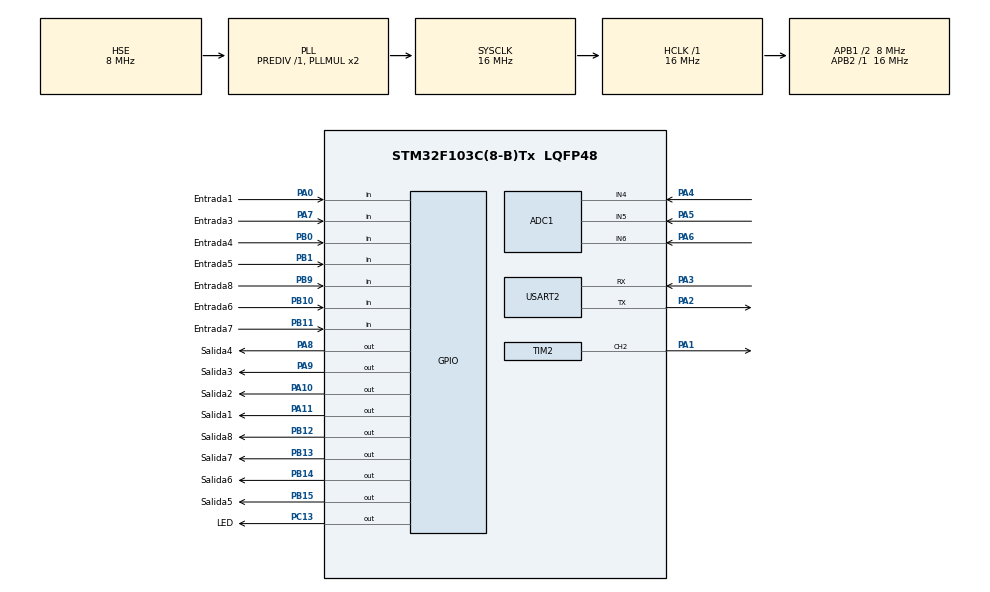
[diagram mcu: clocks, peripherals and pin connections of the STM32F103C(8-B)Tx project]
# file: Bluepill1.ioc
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ADC1.Channel-3\#ChannelRegularConversion=ADC_CHANNEL_4
ADC1.Channel-4\#ChannelRegularConversion=ADC_CHANNEL_4
ADC1.Channel-5\#ChannelRegularConversion=ADC_CHANNEL_4
ADC1.ContinuousConvMode=ENABLE
ADC1.NbrOfConversion=3
ADC1.NbrOfConversionFlag=1
ADC1.Rank-3\#ChannelRegularConversion=1
ADC1.Rank-4\#ChannelRegularConversion=2
ADC1.Rank-5\#ChannelRegularConversion=3
ADC1.SamplingTime-3\#ChannelRegularConversion=ADC_SAMPLETIME_28CYCLES_5
ADC1.SamplingTime-4\#ChannelRegularConversion=ADC_SAMPLETIME_71CYCLES_5
ADC1.SamplingTime-5\#ChannelRegularConversion=ADC_SAMPLETIME_239CYCLES_5
ADC1.master=1
Mcu.Family=STM32F1
Mcu.Name=STM32F103C(8-B)Tx
Mcu.Package=LQFP48
NVIC.PriorityGroup=NVIC_PRIORITYGROUP_4
NVIC.USART2_IRQn=true\:0\:0\:false\:false\:true\:true\:true\:true
PA0-WKUP.GPIO_Label=Entrada1
PA0-WKUP.GPIO_PuPd=GPIO_PULLDOWN
PA0-WKUP.Signal=GPIO_Input
PA1.Signal=S_TIM2_CH2
PA10.GPIO_Label=Salida2
PA10.GPIO_PuPd=GPIO_PULLDOWN
PA10.Signal=GPIO_Output
PA11.GPIO_Label=Salida1
PA11.GPIO_PuPd=GPIO_PULLDOWN
PA11.Signal=GPIO_Output
PA13.Mode=Serial_Wire
PA13.Signal=SYS_JTMS-SWDIO
PA14.Mode=Serial_Wire
PA14.Signal=SYS_JTCK-SWCLK
PA2.Mode=Asynchronous
PA2.Signal=USART2_TX
PA3.Mode=Asynchronous
PA3.Signal=USART2_RX
PA4.Signal=ADCx_IN4
PA5.Signal=ADCx_IN5
PA6.Signal=ADCx_IN6
PA7.GPIO_Label=Entrada3
PA7.GPIO_PuPd=GPIO_PULLDOWN
PA7.Signal=GPIO_Input
PA8.GPIO_Label=Salida4
PA8.GPIO_PuPd=GPIO_PULLDOWN
PA8.Signal=GPIO_Output
PA9.GPIO_Label=Salida3
PA9.GPIO_PuPd=GPIO_PULLDOWN
PA9.Signal=GPIO_Output
PB0.GPIO_Label=Entrada4
PB0.GPIO_PuPd=GPIO_PULLDOWN
PB0.Signal=GPIO_Input
PB1.GPIO_Label=Entrada5
PB1.GPIO_PuPd=GPIO_PULLDOWN
PB1.Signal=GPIO_Input
PB10.GPIO_Label=Entrada6
PB10.GPIO_PuPd=GPIO_PULLDOWN
PB10.Signal=GPIO_Input
PB11.GPIO_Label=Entrada7
PB11.GPIO_PuPd=GPIO_PULLDOWN
PB11.Signal=GPIO_Input
PB12.GPIO_Label=Salida8
PB12.GPIO_PuPd=GPIO_PULLDOWN
PB12.Signal=GPIO_Output
PB13.GPIO_Label=Salida7
PB13.GPIO_PuPd=GPIO_PULLDOWN
PB13.Signal=GPIO_Output
PB14.GPIO_Label=Salida6
PB14.GPIO_PuPd=GPIO_PULLDOWN
PB14.Signal=GPIO_Output
PB15.GPIO_Label=Salida5
PB15.GPIO_PuPd=GPIO_PULLDOWN
PB15.Signal=GPIO_Output
PB9.GPIO_Label=Entrada8
PB9.GPIO_PuPd=GPIO_PULLDOWN
PB9.Signal=GPIO_Input
PC13-TAMPER-RTC.GPIO_Label=LED
PC13-TAMPER-RTC.GPIO_PuPd=GPIO_PULLDOWN
PC13-TAMPER-RTC.Signal=GPIO_Output
PD0-OSC_IN.Mode=HSE-External-Oscillator
PD0-OSC_IN.Signal=RCC_OSC_IN
PD1-OSC_OUT.Mode=HSE-External-Oscillator
PD1-OSC_OUT.Signal=RCC_OSC_OUT
ProjectManager.HeapSize=0x200
ProjectManager.StackSize=0x400
ProjectManager.TargetToolchain=STM32CubeIDE
RCC.AHBFreq_Value=16000000
RCC.APB1CLKDivider=RCC_HCLK_DIV2
RCC.APB1Freq_Value=8000000
RCC.APB1TimFreq_Value=16000000
RCC.APB2Freq_Value=16000000
RCC.APB2TimFreq_Value=16000000
RCC.HCLKFreq_Value=16000000
RCC.PLLSourceVirtual=RCC_PLLSOURCE_HSE
RCC.SYSCLKFreq_VALUE=16000000
RCC.SYSCLKSource=RCC_SYSCLKSOURCE_PLLCLK
RCC.USBFreq_Value=16000000
SH.ADCx_IN4.0=ADC1_IN4,IN4
SH.ADCx_IN5.0=ADC1_IN5,IN5
SH.ADCx_IN6.0=ADC1_IN6,IN6
SH.S_TIM2_CH2.0=TIM2_CH2,PWM Generation2 CH2
TIM2.AutoReloadPreload=TIM_AUTORELOAD_PRELOAD_ENABLE
TIM2.Channel-PWM\ Generation2\ CH2=TIM_CHANNEL_2
USART2.VirtualMode=VM_ASYNC
VP_TIM2_VS_ClockSourceINT.Mode=Internal
board=custom

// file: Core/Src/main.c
/* USER CODE BEGIN Header */
/**
  ******************************************************************************
  * @file           : main.c
  * @brief          : Main program body
  ******************************************************************************
  * @attention
  *
  * Copyright (c) 2022 STMicroelectronics.
  * All rights reserved.
  *
  * This software is licensed under terms that can be found in the LICENSE file
  * in the root directory of this software component.
  * If no LICENSE file comes with this software, it is provided AS-IS.
  *
  ******************************************************************************
  */
/* USER CODE END Header */
#include "main.h"

/* USER CODE BEGIN Includes */
#include <stdio.h>
#include <string.h>
#include <stdlib.h>
/* USER CODE END Includes */

/* USER CODE BEGIN PD */
#define NUM_ADC 3
/* USER CODE END PD */

 ADC_HandleTypeDef hadc1;

TIM_HandleTypeDef htim2;

UART_HandleTypeDef huart2;

void SystemClock_Config(void);
static void MX_GPIO_Init(void);
static void MX_USART2_UART_Init(void);
static void MX_ADC1_Init(void);
static void MX_TIM2_Init(void);

/* USER CODE BEGIN 0 */

void ADC_Select_CH4(void){
	/** Configure Regular Channel
	  */
	  ADC_ChannelConfTypeDef sConfig = {0};
	  sConfig.Channel = ADC_CHANNEL_4;
	  sConfig.Rank = ADC_REGULAR_RANK_1;
	  sConfig.SamplingTime = ADC_SAMPLETIME_28CYCLES_5;
	  if (HAL_ADC_ConfigChannel(&hadc1, &sConfig) != HAL_OK)
	  {
	    Error_Handler();
	  }

}
void ADC_Select_CH5(void){
	/** Configure Regular Channel
		  */
		  ADC_ChannelConfTypeDef sConfig = {0};
		  sConfig.Channel = ADC_CHANNEL_5;
		  sConfig.Rank = ADC_REGULAR_RANK_1;
		  sConfig.SamplingTime = ADC_SAMPLETIME_71CYCLES_5;
		  if (HAL_ADC_ConfigChannel(&hadc1, &sConfig) != HAL_OK)
		  {
		    Error_Handler();
		  }

}

void ADC_Select_CH6(void){
	/** Configure Regular Channel
			  */
			  ADC_ChannelConfTypeDef sConfig = {0};
			  sConfig.Channel = ADC_CHANNEL_6;
			  sConfig.Rank = ADC_REGULAR_RANK_1;
			  sConfig.SamplingTime = ADC_SAMPLETIME_239CYCLES_5;
			  if (HAL_ADC_ConfigChannel(&hadc1, &sConfig) != HAL_OK)
			  {
			    Error_Handler();
			  }
}

	 uint16_t ADCValue[3];
/* USER CODE END 0 */

int main(void)
{
  /* USER CODE BEGIN 1 */

	 int32_t dutyCycle = 0;
	 int PWM;
	 int i;
	 uint8_t charValue[50];
	 uint8_t inDig[8];
	 uint8_t dataRec[8]={};
	 int dato[9]={};
	 float temperatura;
	 int rec = 0;
  // ----------------------------Variables usadas para el filtrado-----------------------------------
	 float y[2] = {0.0,0.0};
	 float x[2] = {0.0,0.0};
	 float frec_corte = 2*3.14*0.1;
	 float A1, A2, A3;
	 float suavizar = 0;
	 int ADC_filtrado;
 // ----------------------------Variables usadas para la discretizacion del PID-----------------------------------
	 float referencia;
	 float retro; 					// Retroalimentacion
	 float e[3] = {0.0,0.0,0.0}; 	//Almacenamos el error actual, el error anterior y el anterior 2 veces
	 float u[3] = {0.0,0.0,0.0}; 	// Almacena la salida actual, la anterior y la anterior 2 veces
	 float kp = 44;
	 float ki = 1.53;
	 float kd = 100;
	 float T = 1;
	 float K1, K2, K3;			 	 // Variables auxiliares
	 float a1, a2, a3;
  /* USER CODE END 1 */

  /* MCU Configuration--------------------------------------------------------*/

  /* Reset of all peripherals, Initializes the Flash interface and the Systick. */
  HAL_Init();

  /* Configure the system clock */
  SystemClock_Config();

  /* Initialize all configured peripherals */
  MX_GPIO_Init();
  MX_USART2_UART_Init();
  MX_ADC1_Init();
  MX_TIM2_Init();
  /* USER CODE BEGIN 2 */
  HAL_TIM_PWM_Start(&htim2, TIM_CHANNEL_2);
  /* USER CODE END 2 */

  /* Infinite loop */
  /* USER CODE BEGIN WHILE */

  while (1)
  {
	  suavizar = 0;
//------------LECTURA PUERTO SERIE: Los datos estan guardados como ASCII, el programa no avanza hasta que se reciben datos----------------------//
	  HAL_UART_Receive_IT(&huart2, (uint16_t*)dataRec, sizeof(dataRec));

	  dato[0] = (int)(dataRec[0]);
	  dato[1] = (int)(dataRec[1]);

	  if(rec<=-500)
	  {
		  rec=0;
	  }
	  else
	  {
	  rec = (dato[0]-48)*10 + (dato[1]-48);
	  }

 //-------------------------------------------DEFINICION DEL ESTADO DE LAS SALIDAS--------------------------------------------------------------//

	  if(dato[0]==49)
	  {
		  HAL_GPIO_WritePin(GPIOA, GPIO_PIN_11, GPIO_PIN_SET);
	  }
	  else
	  {
		  HAL_GPIO_WritePin(GPIOA, GPIO_PIN_11, GPIO_PIN_RESET);
	  }
	  if(dato[1]==49)
	  {
		  HAL_GPIO_WritePin(GPIOA, GPIO_PIN_10, GPIO_PIN_SET);
	  }
	  else
	  {
		  HAL_GPIO_WritePin(GPIOA, GPIO_PIN_10, GPIO_PIN_RESET);
	  }
	  if(dato[2]==49)
	  {
		  HAL_GPIO_WritePin(GPIOA, GPIO_PIN_9, GPIO_PIN_SET);
	  }else
	  {
		  HAL_GPIO_WritePin(GPIOA, GPIO_PIN_9, GPIO_PIN_RESET);
	  }
	  if(dato[3]==49)
	  {
		  HAL_GPIO_WritePin(GPIOA, GPIO_PIN_8, GPIO_PIN_SET);
	  }
	  else
	  {
		  HAL_GPIO_WritePin(GPIOA, GPIO_PIN_9, GPIO_PIN_RESET);
	  }
	  if(dato[4]==49)
	  {
		  HAL_GPIO_WritePin(GPIOB, GPIO_PIN_15, GPIO_PIN_SET);
	  }
	  else
	  {
		  HAL_GPIO_WritePin(GPIOB, GPIO_PIN_15, GPIO_PIN_RESET);
	  }
	  if(dato[5]==49)
	  {
		  HAL_GPIO_WritePin(GPIOB, GPIO_PIN_14, GPIO_PIN_SET);
	  }else
	  {
		  HAL_GPIO_WritePin(GPIOB, GPIO_PIN_14, GPIO_PIN_RESET);
	  }
	  if(dato[6]==49)
	  {
		  HAL_GPIO_WritePin(GPIOB, GPIO_PIN_13, GPIO_PIN_SET);
	  }
	  else
	  {
		  HAL_GPIO_WritePin(GPIOB, GPIO_PIN_13, GPIO_PIN_RESET);
	  }
	  if(dato[7]==49)
	  {
		  HAL_GPIO_WritePin(GPIOB, GPIO_PIN_12, GPIO_PIN_SET);
	  }
	  else
	  {
		  HAL_GPIO_WritePin(GPIOB, GPIO_PIN_12, GPIO_PIN_RESET);
	  }
	  //-------------------------------------------ETAPA LECTURA DE ENTRADAS DIGITALES--------------------------------------------------------------//

	  /*if(HAL_GPIO_ReadPin(GPIOA, GPIO_PIN_0))
	   {inDig[0] = 1;}
	   else{inDig[0] = 0;}*/

	  	if(HAL_GPIO_ReadPin(GPIOA, GPIO_PIN_7))
	  	{inDig[2] = 1;}
	  	else{inDig[2] = 0;}

	  	if(HAL_GPIO_ReadPin(GPIOB, GPIO_PIN_0))
	  	{inDig[3] = 1;}
	  	else{inDig[3] = 0;}

	  	if(HAL_GPIO_ReadPin(GPIOB, GPIO_PIN_1))
	  	{inDig[4] = 1;}
	  	else{inDig[4] = 0;}

	  	if(HAL_GPIO_ReadPin(GPIOB, GPIO_PIN_10))
	  	{inDig[5] = 1;}
	  	else{inDig[5] = 0;}

	  	if(HAL_GPIO_ReadPin(GPIOB, GPIO_PIN_11))
	  	{inDig[6] = 1;}
	  	else{inDig[6] = 0;}

	  	if(HAL_GPIO_ReadPin(GPIOB, GPIO_PIN_9))
	  	{inDig[7] = 1;}
	  	else{inDig[7] = 0;}

 //-------------------------------------------ETAPA MANEJO DE ADC--------------------------------------------------------------//
	  for(i = 0; i <10; i++)
	  {
	  	//CANAL 4
	  	ADC_Select_CH4();
	  	HAL_ADC_Start(&hadc1);
	  	HAL_ADC_PollForConversion(&hadc1, 1000);
	  	ADCValue[0]= HAL_ADC_GetValue(&hadc1);
	  	HAL_ADC_Stop(&hadc1);
	  	suavizar = ADCValue[0] + suavizar;
	  }

	  	//CANAL 5
	  	ADC_Select_CH5();
	  	HAL_ADC_Start(&hadc1);
	  	HAL_ADC_PollForConversion(&hadc1, 1000);
	  	ADCValue[1]= HAL_ADC_GetValue(&hadc1);
	  	HAL_ADC_Stop(&hadc1);
	  	//CANAL 6
	 	ADC_Select_CH6();
	  	HAL_ADC_Start(&hadc1);
	  	HAL_ADC_PollForConversion(&hadc1, 1000);
	  	ADCValue[2]= HAL_ADC_GetValue(&hadc1);
	  	HAL_ADC_Stop(&hadc1);

	  	x[0] = suavizar/10;
  //-------------------------------------------FILTRADO ADC--------------------------------------------------------------------------//
	  	A1 = (frec_corte*T)/(2+frec_corte*T);
	  	A2 = A1;
	  	A3 = (frec_corte*T-2)/(2+frec_corte*T);
	  	y[0] = A1*x[0]+A2*x[1]-y[1]*A3;
	  	ADC_filtrado = (int)y[0];
  //-------------------------------------------FLAG CONTROL TEMPERATURA--------------------------------------------------------------//
	  	temperatura = (3.3*y[0]/4095)/0.01;

  //-------------------------------------------CALCULO DEL PID--------------------------------------------------------------------
	  	referencia = rec;	 				 // Referencia deseada de temperatura
	  	retro = temperatura; 				 // Valor leido por parte del sensor LM35
  	  	if(temperatura<20)
  	  	{
  	  		e[0] = 0;
  	  	}
  	  	else
  	  	{
  	  		e[0] = referencia - retro;
  	  	}
  	//-------------------------------------------CALCULO DEL PID--------------------------------------------------------------------
	  	K1 = kp+ki*(T/2)+kd*(2/T);   		 //Coeficiente que multiplica el error actual.
	  	K2 = ki*T-kd*(4/T);			 		 //Coeficiente que multiplica el error previo.
	  	K3 = ki*(T/2)+kd*(2/T)-kp;			 //Coeficiente que multiplica el error dos veces previo.
	  	u[0] = K1*e[0]+K2*e[1]+K3*e[2]+u[2];
	  	a1 = K1*e[0];
	  	a2 = K2* e[1];
	  	a3 = K3*e[2];
	  	//Ecuacion PID
  //-------------------------------------------Ajuste del PID (se establecen limitadores)-------------------------------------------
	  	if(u[0]>100)
	  	{
	  		u[0] = 100;
	  	}
	  	if(u[0]<0.0)
	  	{
	  	    u[0] = 0;
	  	}
  //---------------------------------------------------CONTROL PWM------------------------------------------------------//
	  	dutyCycle =u[0]*65535/100;
	  	TIM2->CCR2 = dutyCycle;
	  	PWM = dutyCycle*100/65535;
  //---------------------------------------------------CORRIMIENTOS------------------------------------------------------//
  //Corrimiento de errores
	  	e[2] = e[1];
	  	e[1] = e[0];
  //Corrimiento de salidas
	  	u[2] = u[1];
	  	u[1] = u[0];
  //Corrimiento elementos del filtro
	  	y[1] = y[0];
	  	x[1] = x[0];
  //-------------------------------------------TRANSMISION VIA UART--------------------------------------------------------------//
  //	 sprintf(charValue, "%lu,%lu,%lu,%lu,%lu,%lu,%lu,%lu,%lu,%lu,%lu,2\n",ADCValue[0],ADCValue[1],ADCValue[2], inDig[0],inDig[1],inDig[2],inDig[3],inDig[4],inDig[5],inDig[6],inDig[7]);
	  sprintf(charValue, "0,%lu,%lu,2\n",ADC_filtrado,PWM);
	  //sprintf(charValue, ",%lu\n",auxiliar);
	     HAL_UART_Transmit(&huart2, (uint8_t*)charValue, strlen(charValue),HAL_MAX_DELAY);
 	     HAL_Delay(1000);

  }
    /* USER CODE END WHILE */

}

void SystemClock_Config(void)
{
  RCC_OscInitTypeDef RCC_OscInitStruct = {0};
  RCC_ClkInitTypeDef RCC_ClkInitStruct = {0};
  RCC_PeriphCLKInitTypeDef PeriphClkInit = {0};

  /** Initializes the RCC Oscillators according to the specified parameters
  * in the RCC_OscInitTypeDef structure.
  */
  RCC_OscInitStruct.OscillatorType = RCC_OSCILLATORTYPE_HSE;
  RCC_OscInitStruct.HSEState = RCC_HSE_ON;
  RCC_OscInitStruct.HSEPredivValue = RCC_HSE_PREDIV_DIV1;
  RCC_OscInitStruct.HSIState = RCC_HSI_ON;
  RCC_OscInitStruct.PLL.PLLState = RCC_PLL_ON;
  RCC_OscInitStruct.PLL.PLLSource = RCC_PLLSOURCE_HSE;
  RCC_OscInitStruct.PLL.PLLMUL = RCC_PLL_MUL2;
  if (HAL_RCC_OscConfig(&RCC_OscInitStruct) != HAL_OK)
  {
    Error_Handler();
  }

  /** Initializes the CPU, AHB and APB buses clocks
  */
  RCC_ClkInitStruct.ClockType = RCC_CLOCKTYPE_HCLK|RCC_CLOCKTYPE_SYSCLK
                              |RCC_CLOCKTYPE_PCLK1|RCC_CLOCKTYPE_PCLK2;
  RCC_ClkInitStruct.SYSCLKSource = RCC_SYSCLKSOURCE_PLLCLK;
  RCC_ClkInitStruct.AHBCLKDivider = RCC_SYSCLK_DIV1;
  RCC_ClkInitStruct.APB1CLKDivider = RCC_HCLK_DIV2;
  RCC_ClkInitStruct.APB2CLKDivider = RCC_HCLK_DIV1;

  if (HAL_RCC_ClockConfig(&RCC_ClkInitStruct, FLASH_LATENCY_0) != HAL_OK)
  {
    Error_Handler();
  }
  PeriphClkInit.PeriphClockSelection = RCC_PERIPHCLK_ADC;
  PeriphClkInit.AdcClockSelection = RCC_ADCPCLK2_DIV2;
  if (HAL_RCCEx_PeriphCLKConfig(&PeriphClkInit) != HAL_OK)
  {
    Error_Handler();
  }
}

static void MX_ADC1_Init(void)
{

  ADC_ChannelConfTypeDef sConfig = {0};

  /** Common config
  */
  hadc1.Instance = ADC1;
  hadc1.Init.ScanConvMode = ADC_SCAN_ENABLE;
  hadc1.Init.ContinuousConvMode = ENABLE;
  hadc1.Init.DiscontinuousConvMode = DISABLE;
  hadc1.Init.ExternalTrigConv = ADC_SOFTWARE_START;
  hadc1.Init.DataAlign = ADC_DATAALIGN_RIGHT;
  hadc1.Init.NbrOfConversion = 1;
  if (HAL_ADC_Init(&hadc1) != HAL_OK)
  {
    Error_Handler();
  }

  /** Configure Regular Channel
  */
//  sConfig.Channel = ADC_CHANNEL_4;
//  sConfig.Rank = ADC_REGULAR_RANK_1;
//  sConfig.SamplingTime = ADC_SAMPLETIME_28CYCLES_5;
//  if (HAL_ADC_ConfigChannel(&hadc1, &sConfig) != HAL_OK)
//  {
//    Error_Handler();
//  }
//
//  /** Configure Regular Channel
//  */
//  sConfig.Rank = ADC_REGULAR_RANK_2;
//  sConfig.SamplingTime = ADC_SAMPLETIME_71CYCLES_5;
//  if (HAL_ADC_ConfigChannel(&hadc1, &sConfig) != HAL_OK)
//  {
//    Error_Handler();
//  }
//
//  /** Configure Regular Channel
//  */
//  sConfig.Rank = ADC_REGULAR_RANK_3;
//  sConfig.SamplingTime = ADC_SAMPLETIME_239CYCLES_5;
//  if (HAL_ADC_ConfigChannel(&hadc1, &sConfig) != HAL_OK)
//  {
//    Error_Handler();
//  }

}

static void MX_TIM2_Init(void)
{

  TIM_ClockConfigTypeDef sClockSourceConfig = {0};
  TIM_MasterConfigTypeDef sMasterConfig = {0};
  TIM_OC_InitTypeDef sConfigOC = {0};

  htim2.Instance = TIM2;
  htim2.Init.Prescaler = 0;
  htim2.Init.CounterMode = TIM_COUNTERMODE_UP;
  htim2.Init.Period = 65535;
  htim2.Init.ClockDivision = TIM_CLOCKDIVISION_DIV1;
  htim2.Init.AutoReloadPreload = TIM_AUTORELOAD_PRELOAD_ENABLE;
  if (HAL_TIM_Base_Init(&htim2) != HAL_OK)
  {
    Error_Handler();
  }
  sClockSourceConfig.ClockSource = TIM_CLOCKSOURCE_INTERNAL;
  if (HAL_TIM_ConfigClockSource(&htim2, &sClockSourceConfig) != HAL_OK)
  {
    Error_Handler();
  }
  if (HAL_TIM_PWM_Init(&htim2) != HAL_OK)
  {
    Error_Handler();
  }
  sMasterConfig.MasterOutputTrigger = TIM_TRGO_RESET;
  sMasterConfig.MasterSlaveMode = TIM_MASTERSLAVEMODE_DISABLE;
  if (HAL_TIMEx_MasterConfigSynchronization(&htim2, &sMasterConfig) != HAL_OK)
  {
    Error_Handler();
  }
  sConfigOC.OCMode = TIM_OCMODE_PWM1;
  sConfigOC.Pulse = 0;
  sConfigOC.OCPolarity = TIM_OCPOLARITY_HIGH;
  sConfigOC.OCFastMode = TIM_OCFAST_DISABLE;
  if (HAL_TIM_PWM_ConfigChannel(&htim2, &sConfigOC, TIM_CHANNEL_2) != HAL_OK)
  {
    Error_Handler();
  }
  HAL_TIM_MspPostInit(&htim2);

}

static void MX_USART2_UART_Init(void)
{

  huart2.Instance = USART2;
  huart2.Init.BaudRate = 115200;
  huart2.Init.WordLength = UART_WORDLENGTH_8B;
  huart2.Init.StopBits = UART_STOPBITS_1;
  huart2.Init.Parity = UART_PARITY_NONE;
  huart2.Init.Mode = UART_MODE_TX_RX;
  huart2.Init.HwFlowCtl = UART_HWCONTROL_NONE;
  huart2.Init.OverSampling = UART_OVERSAMPLING_16;
  if (HAL_UART_Init(&huart2) != HAL_OK)
  {
    Error_Handler();
  }

}

static void MX_GPIO_Init(void)
{
  GPIO_InitTypeDef GPIO_InitStruct = {0};

  /* GPIO Ports Clock Enable */
  __HAL_RCC_GPIOC_CLK_ENABLE();
  __HAL_RCC_GPIOD_CLK_ENABLE();
  __HAL_RCC_GPIOA_CLK_ENABLE();
  __HAL_RCC_GPIOB_CLK_ENABLE();

  /*Configure GPIO pin Output Level */
  HAL_GPIO_WritePin(LED_GPIO_Port, LED_Pin, GPIO_PIN_RESET);

  /*Configure GPIO pin Output Level */
  HAL_GPIO_WritePin(GPIOB, Salida8_Pin|Salida7_Pin|Salida6_Pin|Salida5_Pin, GPIO_PIN_RESET);

  /*Configure GPIO pin Output Level */
  HAL_GPIO_WritePin(GPIOA, Salida4_Pin|Salida3_Pin|Salida2_Pin|Salida1_Pin, GPIO_PIN_RESET);

  /*Configure GPIO pin : LED_Pin */
  GPIO_InitStruct.Pin = LED_Pin;
  GPIO_InitStruct.Mode = GPIO_MODE_OUTPUT_PP;
  GPIO_InitStruct.Pull = GPIO_PULLDOWN;
  GPIO_InitStruct.Speed = GPIO_SPEED_FREQ_LOW;
  HAL_GPIO_Init(LED_GPIO_Port, &GPIO_InitStruct);

  /*Configure GPIO pins : Entrada1_Pin Entrada3_Pin */
  GPIO_InitStruct.Pin = Entrada1_Pin|Entrada3_Pin;
  GPIO_InitStruct.Mode = GPIO_MODE_INPUT;
  GPIO_InitStruct.Pull = GPIO_PULLDOWN;
  HAL_GPIO_Init(GPIOA, &GPIO_InitStruct);

  /*Configure GPIO pins : Entrada4_Pin Entrada5_Pin Entrada6_Pin Entrada7_Pin
                           Entrada8_Pin */
  GPIO_InitStruct.Pin = Entrada4_Pin|Entrada5_Pin|Entrada6_Pin|Entrada7_Pin
                          |Entrada8_Pin;
  GPIO_InitStruct.Mode = GPIO_MODE_INPUT;
  GPIO_InitStruct.Pull = GPIO_PULLDOWN;
  HAL_GPIO_Init(GPIOB, &GPIO_InitStruct);

  /*Configure GPIO pins : Salida8_Pin Salida7_Pin Salida6_Pin Salida5_Pin */
  GPIO_InitStruct.Pin = Salida8_Pin|Salida7_Pin|Salida6_Pin|Salida5_Pin;
  GPIO_InitStruct.Mode = GPIO_MODE_OUTPUT_PP;
  GPIO_InitStruct.Pull = GPIO_PULLDOWN;
  GPIO_InitStruct.Speed = GPIO_SPEED_FREQ_LOW;
  HAL_GPIO_Init(GPIOB, &GPIO_InitStruct);

  /*Configure GPIO pins : Salida4_Pin Salida3_Pin Salida2_Pin Salida1_Pin */
  GPIO_InitStruct.Pin = Salida4_Pin|Salida3_Pin|Salida2_Pin|Salida1_Pin;
  GPIO_InitStruct.Mode = GPIO_MODE_OUTPUT_PP;
  GPIO_InitStruct.Pull = GPIO_PULLDOWN;
  GPIO_InitStruct.Speed = GPIO_SPEED_FREQ_LOW;
  HAL_GPIO_Init(GPIOA, &GPIO_InitStruct);

}

void Error_Handler(void)
{
  __disable_irq();
  while (1)
  {
  }
}
